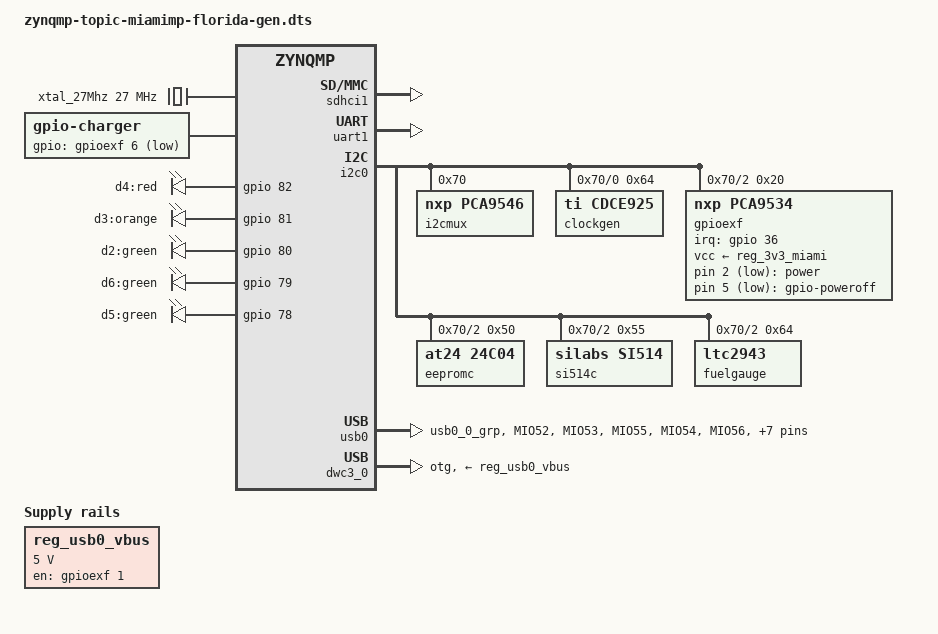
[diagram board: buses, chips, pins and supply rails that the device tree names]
/*
 * dts file for Topic Miami MPSoC
 *
 * (C) Copyright 2017, Topic Embedded Products BV
 * Mike Looijmans <mike.looijmans@topic.nl>
 *
 * This program is free software; you can redistribute it and/or
 * modify it under the terms of the GNU General Public License as
 * published by the Free Software Foundation; either version 2 of
 * the License, or (at your option) any later version.
 */

#include "zynqmp-topic-miamimp.dts"

/ {
	/* Regulator for the 5V USB VBUS power line. This is connected
	 * to the second output of the GPIO expander. */
	reg_usb0_vbus: regulator_usb {
		compatible = "regulator-fixed";
		regulator-name = "usb0-vbus";
		regulator-min-microvolt = <5000000>;
		regulator-max-microvolt = <5000000>;
		gpio = <&gpioexf 1 0>;
		enable-active-high;
	};

	xtal_27Mhz: clock_xtal_27Mhz {
		compatible = "fixed-clock";
		#clock-cells = <0>;
		clock-frequency = <27000000>;
	};

	gpio_keys: gpio-keys {
		compatible = "gpio-keys";
		#address-cells = <1>;
		#size-cells = <0>;
		power {
			label = "power";
			gpios = <&gpioexf 2 1>; /* Input 2, active low */
			linux,code = <116>; /* KEY_POWER */
			gpio-key,wakeup;
		};
	};

	gpio-poweroff {
		compatible = "gpio-poweroff";
		gpios = <&gpioexf 5 1>; /* Output 5, active low */
		input;
		force-pm-power-off; /* Replace the PSCI power-off callback */
	};

	charger: battery-charger {
		compatible = "gpio-charger";
		charger-type = "mains";
		gpios = <&gpioexf 6 1>; /* Pin 6 of IO expander, active low */
	};
};

&leds {
	traffic_led_d4 { /* Red */
		label = "d4:red";
		gpios = <&gpio 82 0>; /* EMIO 4 */
		linux,default-trigger = "mmc1";
	};
	traffic_led_d3 { /* Orange */
		label = "d3:orange";
		gpios = <&gpio 81 0>; /* EMIO 3 */
		linux,default-trigger = "mmc0";
	};
	traffic_led_d2 { /* Green */
		label = "d2:green";
		gpios = <&gpio 80 0>; /* EMIO 2 */
	};
	traffic_led_d6 { /* Green */
		label = "d6:green";
		gpios = <&gpio 79 0>; /* EMIO 1 */
	};
	traffic_led_d5 { /* Green */
		label = "d5:green";
		gpios = <&gpio 78 0>; /* EMIO 0 */
	};
};

/* SD card with level shifter */
&sdhci1 {
	status = "okay";
	xlnx,mio_bank = <1>;
	no-1-8-v; /* No high-speed capability */
	disable-wp; /* We don't have a write-protect detection */
};

&uart1 {
	status = "okay";
};

/* Setup for SATA serdes clock */
&psgtr {
	status = "disabled"; /* Must wait until PL has been programmed */
	/* SI514 on miami can be routed through logic as REFCLK0. */
	/* Routed Si514 on Florida to refclk1 */
	clock-names = "ref0";
	clocks = <&si514s>;
	/* Set clock rates since the psgtr driver doesn't do that */
	assigned-clocks = <&si514s>;
	assigned-clock-rates = <150000000>;
};

/* I2C bus layout */
&i2c0 {
	i2cmux: i2cswitch@70 {
		compatible = "nxp,pca9546";
		#address-cells = <1>;
		#size-cells = <0>;
		reg = <0x70>;

		i2cmux_0: i2c@0 {
			#address-cells = <1>;
			#size-cells = <0>;
			reg = <0>;
			/* Clock generator TI I2C chip, 27MHz . */
			clockgen: cdce925pw@64 {
				compatible = "ti,cdce925";
				reg = <0x64>;
				clocks = <&xtal_27Mhz>;
				xtal-load-pf = <5>; /* Crystal load-capacitor value */
				#clock-cells = <1>;
				/* PLL options, optional. For example to get SSC 1%
				 * centered, supply the following extra data:
				 *PLL2 {
				 *	spread-spectrum = <4>;
				 *	spread-spectrum-center;
				 *};
				 */
			};
		};
		i2cmux_1: i2c@1 {
			/* HDMI O - Connects directly to HDMI connector */
			#address-cells = <1>;
			#size-cells = <0>;
			reg = <1>;
		};
		i2cmux_2: i2c@2 {
			/* GEN */
			#address-cells = <1>;
			#size-cells = <0>;
			reg = <2>;
			/* GPIO expander */
			gpioexf: pca953x@20 {
				compatible = "nxp,pca9534";
				reg = <0x20>;
				vcc-supply = <&reg_3v3_miami>;
				gpio-line-names = "USB_OTG_OC_N", "USB_OTG_EN_N", "POWER_BTN", "HDMI_IN_HPD",
					"", "POWER_KILL_N", "MAIN_POWER", "";
				gpio-controller;
				#gpio-cells = <2>;
				interrupt-controller;
				/* IRQ line connected to MIO ??? */
				interrupt-parent = <&gpio>;
				interrupts = <36 0x8>; /* GPIO 36, IRQ_TYPE_LEVEL_LOW */
			};
			/* Touch */
			touch: ad7879@2f {
				status = "disabled"; /* No display panel support, so touch is pointless */
				compatible = "ad7879";
				reg = <0x2F>;
				interrupt-parent = <&gpio>;
				interrupts = <94 0x2>; /* GPIO 78+16 (EMIO 16), falling edge */
				touchscreen-swapped-x-y;
				adi,resistance-plate-x = <620>;
				touchscreen-max-pressure = <4096>;
				adi,first-conversion-delay = /bits/ 8 <3>;
				adi,acquisition-time = /bits/ 8 <1>;
				adi,median-filter-size = /bits/ 8 <2>;
				adi,averaging = /bits/ 8 <1>;
				adi,conversion-interval = /bits/ 8 <255>;
			};
			/* EEPROM */
			eepromc: eepromc@50 {
				compatible = "at24,24c04";
				reg = <0x50>;
			};
			/* Programmable clock */
			si514c: si514@55 {
				reg = <0x55>;
				#clock-cells = <0>;
				compatible = "silabs,si514";
			};
			/* Battery gauge */
			fuelgauge: battery-gauge@64 {
				compatible = "ltc2943";
				reg = <0x64>;
				lltc,resistor-sense = <15>; /* 15 mOhm */
				lltc,prescaler-exponent = <5>; /* 2^(2*5) = 1024 */
				power-supplies = <&charger>;
			};
		};
		i2cmux_3: i2c@3 {
			/* HDMI IN */
			#address-cells = <1>;
			#size-cells = <0>;
			reg = <3>;
		};
	};
};

/* USB connected through MIO and GPIO expander */
&usb0 {
	status = "okay";
	pinctrl-names = "default";
	pinctrl-0 = <&pinctrl_usb0_default>;
};

&dwc3_0 {
	status = "okay";
	dr_mode = "otg"; /* "host", "peripheral" or "otg" */
	vbus-supply = <&reg_usb0_vbus>;
	maximum-speed = "high-speed"; /* super-speed not available on carrier */
	snps,transceiver_delay_quirk; /* USB3340 PHY needs extra delay */
	/* see: https://forums.xilinx.com/t5/Embedded-Linux/Zynqmp-USB2-0/td-p/790522/page/2 */
	snps,dis_u2_susphy_quirk;
	snps,dis_u3_susphy_quirk;
	/delete-property/ phy-names;
	/delete-property/ phys;
/*
	ulpi {
		phy {
			compatible = "smsc,usb3340";
		};
	};
*/
};

&pinctrl0 {
	status = "okay";

	pinctrl_sdhci1_default: sdhci1-default {
		mux {
			groups = "sdio1_4bit_0_1_grp";
			function = "sdio1";
		};

		conf {
			groups = "sdio1_4bit_0_1_grp";
			slew-rate = <SLEW_RATE_SLOW>;
			io-standard = <IO_STANDARD_LVCMOS18>;
			bias-disable;
		};

		mux-cd {
			groups = "sdio1_0_cd_grp";
			function = "sdio1_cd";
		};

		conf-cd {
			groups = "sdio1_0_cd_grp";
			bias-high-impedance;
			bias-pull-up;
			slew-rate = <SLEW_RATE_SLOW>;
			io-standard = <IO_STANDARD_LVCMOS18>;
		};
	};

	pinctrl_usb0_default: usb0-default {
		mux {
			groups = "usb0_0_grp";
			function = "usb0";
		};

		conf {
			groups = "usb0_0_grp";
			slew-rate = <SLEW_RATE_SLOW>;
			io-standard = <IO_STANDARD_LVCMOS18>;
		};

		conf-rx {
			pins = "MIO52", "MIO53", "MIO55";
			bias-high-impedance;
		};

		conf-tx {
			pins = "MIO54", "MIO56", "MIO57", "MIO58", "MIO59",
			       "MIO60", "MIO61", "MIO62", "MIO63";
			bias-disable;
		};
	};
};
